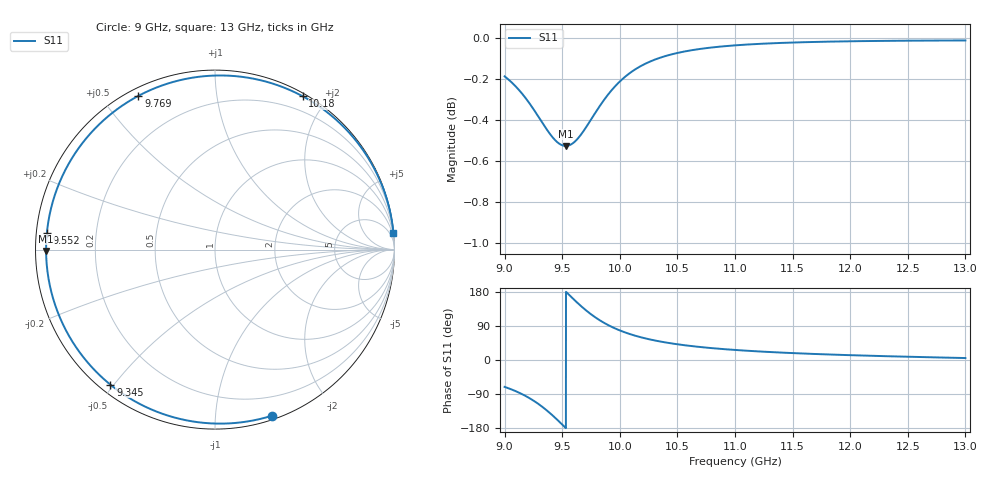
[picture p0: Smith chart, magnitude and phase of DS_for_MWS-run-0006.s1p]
! TOUCHSTONE file generated by CST DESIGN STUDIO
! Date and time: Tue Feb  4 13:49:55 2025
! Project name: C:\Work\MatlabApps\UnitCellOptimizationMatlab\CST\unitcell.cst
! Tree item: Tasks\Sweep1\SPara1\S-Parameters
! Header version: 2024
! Port assignment regex: !\s*Touchstone port\s*([0-9]+)\s*=\s*(CST MWS port|CST DES external port|CST DES block port)\s*(.+)\s* \(\"(.*)\"\)(\s*mode\s*([0-9]+))?.*
! Touchstone port assignment:
! Touchstone port 1 = CST DES external port 1 ("")
# GHz S MA R 50
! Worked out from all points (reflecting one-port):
!   4001 points, 9 GHz to 13 GHz, reference 50 ohm
!   lowest |S11| = -0.5 dB at 9.531 GHz (marker M1), VSWR 32.98, Z = 1.52 - j0.212 ohm
!   phase of S11 starts at -71 deg and turns -284 deg over the sweep
!   S11 on the Smith chart (normalised r, x): 9 GHz: 0.03, -1.40; 9.345 GHz: 0.03, -0.49; 9.552 GHz: 0.03, +0.05; 9.769 GHz: 0.03, +0.62; 10.18 GHz: 0.03, +1.72; 13 GHz: 0, +22
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9  0.9785 -71.0
9.096  0.973 -82.2
9.203  0.965 -98.4
9.277  0.9583 -112.5
9.345  0.9518 -127.8
9.418  0.9456 -146.7
9.461  0.9429 -158.8
9.5  0.9415 -170.3
9.531  0.9411 -179.5
9.552  0.9413 174.2
9.606  0.9432 158.3
9.666  0.9474 141.6
9.717  0.9519 128.5
9.769  0.957 116.5
9.818  0.9617 106.4
9.871  0.9664 96.7
9.935  0.9714 86.7
10  0.9757 78.1
10.086  0.9803 68.6
10.18  0.9841 60.2
10.326  0.9882 50.2
10.5  0.9914 41.5
10.721  0.9939 33.6
11  0.9956 26.5
11.5  0.9972 18.2
12  0.9979 12.7
12.5  0.9982 8.6
13  0.9984 5.2
